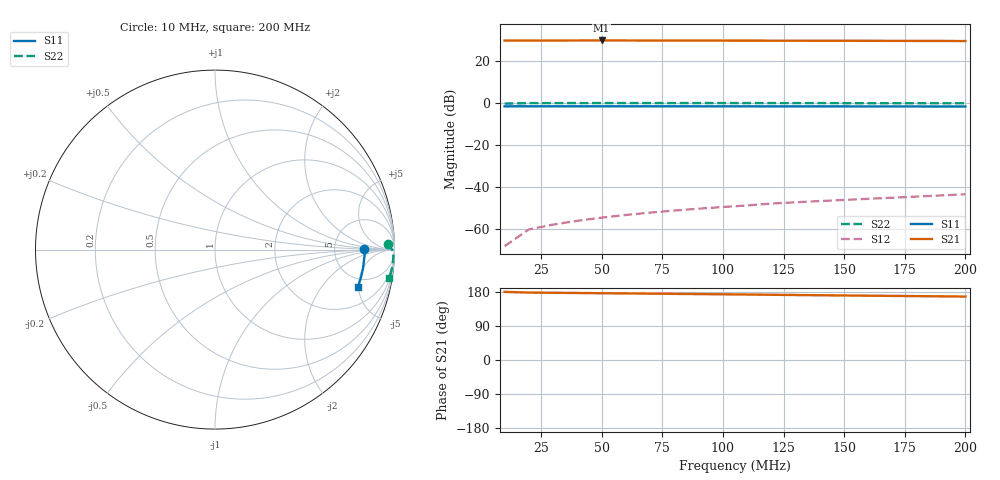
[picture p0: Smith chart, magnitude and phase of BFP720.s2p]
! Infineon Technologies Discrete & RF Semiconductors
!  BFP720
! VCE = 3.0 V, IC = 13 mA
!  Common Emitter S-Parameters:  Aug 2012
# GHz S MA R 50
!  F  S11  S21  S12  S22
! GHz  MAG  ANG  MAG  ANG  MAG  ANG  MAG  ANG
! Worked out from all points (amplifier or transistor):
!   16 points, 10 MHz to 200 MHz, reference 50 ohm
!   highest |S21| = 29.6 dB at 50 MHz (marker M1)
!   |S21| within 3 dB of that: start of sweep to end of sweep
!   unconditionally stable (mu >= 1): start of sweep to 12.45 MHz
!   at 30 MHz: K = 0.13, MSG = 43.7 dB, |S12| = -57.7 dB
!   at 90 MHz: K = 0.07, MSG = 39.9 dB, |S12| = -50.2 dB
!   at 200 MHz: K = 0.07, MSG = 36.4 dB, |S12| = -43.3 dB
0.01  0.829 0.3  30.17 179.8  0.0004 -15.4  0.9648 2.0
0.02  0.835 -1.4  30.18 177.9  0.001 89.5  0.9913 -0.4
0.03  0.834 -2.1  30.24 177.4  0.0013 86.2  0.9922 -1.0
0.04  0.8332 -2.9  30.3 176.8  0.0016 84.2  0.9932 -1.5
0.05  0.8325 -3.7  30.36 176.2  0.0019 82.9  0.9943 -2.0
0.06  0.832 -4.4  30.3 175.7  0.0022 83.7  0.9941 -2.5
0.07  0.8316 -5.2  30.25 175.1  0.0025 84.2  0.9939 -3.0
0.08  0.8314 -5.9  30.19 174.5  0.0028 84.6  0.9939 -3.6
0.09  0.8312 -6.7  30.14 174.0  0.0031 85.0  0.9939 -4.1
0.1  0.8313 -7.4  30.09 173.4  0.0034 85.3  0.994 -4.6
0.11  0.8302 -8.1  30.04 172.8  0.0037 84.8  0.9931 -5.0
0.12  0.8293 -8.9  29.99 172.1  0.0041 84.4  0.9922 -5.5
0.13  0.8286 -9.6  29.94 171.5  0.0044 84.1  0.9913 -6.0
0.14  0.828 -10.4  29.9 170.9  0.0047 83.8  0.9906 -6.4
0.15  0.8275 -11.2  29.86 170.3  0.005 83.6  0.9899 -6.9
0.2  0.8227 -14.8  29.45 167.4  0.0068 82.5  0.9834 -9.2
